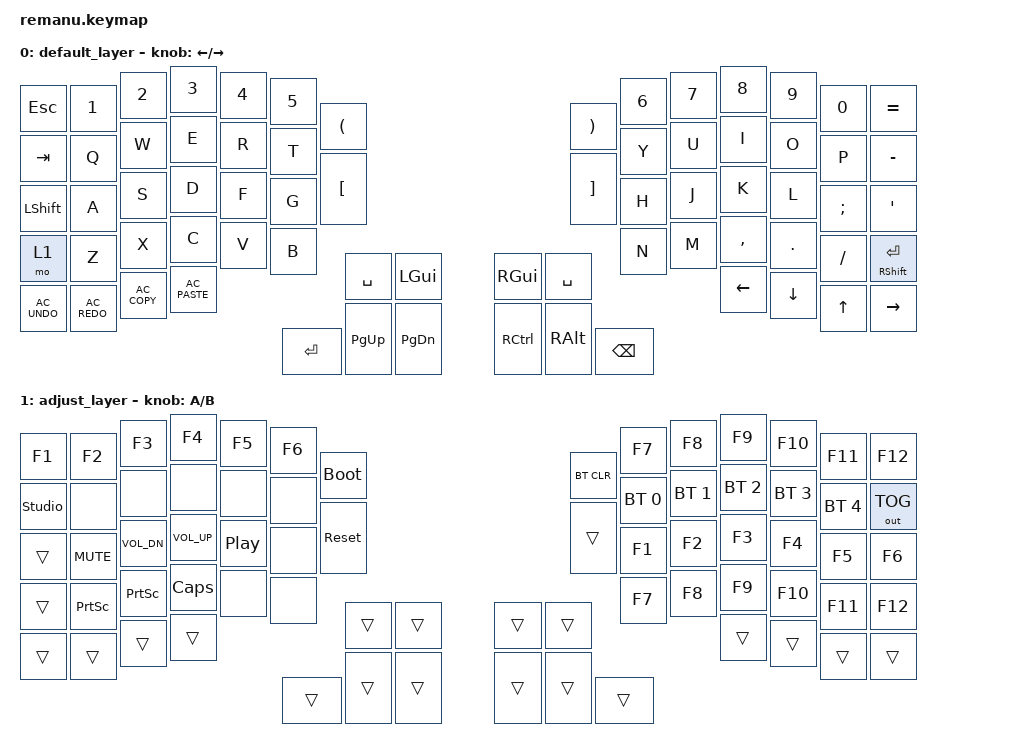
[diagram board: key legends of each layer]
#include <behaviors.dtsi>
#include <dt-bindings/zmk/bt.h>
#include <dt-bindings/zmk/keys.h>
#include <dt-bindings/zmk/outputs.h>

/ {
    keymap {
        compatible = "zmk,keymap";

        default_layer {
            // --------------------------------------------------------------------------------------------------------------------------------
            // | ESC   |  1  |  2  |   3   |  4  |  5  |                   ---                |  6    |  7    |  8    |  9   | 0  |    EQUAL   |
            // | TAB   |  Q  |  W  |   E   |  R  |  T  |   (   |           ---        |  )    |  Y    |  U    |  I    |  O   | P  |     -     |
            // | CTRL  |  A  |  S  |   D   |  F  |  G  |   [   |           ---        |  ]    |  H    |  J    |  K    |  L   | ;  |     '     |
            // | SHIFT |  Z  |  X  |   C   |  V  |  B  | PG_UP | PG_DOWN | --- | HOME | END   |  N    |  M    |  ,    |  .   | /  | SHFT(RET) |
            // | CRTL  | ALT | GUI | LOWER |    GUI    | LOWER | SPACE   | --- | DEL  | SPACE |     RAISE     | LEFT  | DOWN | UP |   RIGHT   |

            bindings = <
&kp ESC        &kp N1         &kp N2         &kp N3          &kp N4  &kp N5                                                       &kp N6            &kp N7  &kp N8     &kp N9    &kp N0    &kp EQUAL
&kp TAB        &kp Q          &kp W          &kp E           &kp R   &kp T      &kp LPAR                               &kp RPAR   &kp Y             &kp U   &kp I      &kp O     &kp P     &kp MINUS
&kp LSHFT      &kp A          &kp S          &kp D           &kp F   &kp G      &kp LBKT                               &kp RBKT   &kp H             &kp J   &kp K      &kp L     &kp SEMI  &kp SQT
&mo 1          &kp Z          &kp X          &kp C           &kp V   &kp B      &kp SPACE    &kp LGUI       &kp RGUI   &kp SPACE  &kp N             &kp M   &kp COMMA  &kp DOT   &kp FSLH  &mt RSHFT RET
&kp C_AC_UNDO  &kp C_AC_REDO  &kp C_AC_COPY  &kp C_AC_PASTE          &kp ENTER  &kp PAGE_UP  &kp PAGE_DOWN  &kp RCTRL  &kp RALT           &kp BSPC          &kp LEFT   &kp DOWN  &kp UP    &kp RIGHT
            >;

            sensor-bindings = <&inc_dec_kp LEFT RIGHT>;
        };

        adjust_layer {
            // -----------------------------------------------------------------------------------------
            // |  F1   |  F2   |    F3    |    F4     |     F5     | F6 |                   ---                | F7  | F8  |  F9  |  F10 | F11 | F12        |
            // | TAB   |       |          |           |            |    | BOOTL |           ---        |  )    | BT1 | BT2 |  BT3 |  BT4 | BT5 | OUTPUT TGL |
            // | CTRL  | MUTE  |  Vol Dn  |  Vol Up   | Play/Pause |    | RESET |           ---        |  ]    | F1  | F2  |  F3  |  F4  | F5  | F6         |
            // | SHIFT | PSCRN |  PSCRN   |   CAPS    |            |    | PG_UP | PG_DOWN | --- | HOME | END   | F7  | F8  |  F9  |  F10 | F11 | F12        |
            // | CRTL  | ALT   |  GUI     |   LOWER   |      GUI        | LOWER | SPACE   | --- | DEL  | SPACE |   RAISE   | LEFT | DOWN | UP  |   RIGHT    |

            bindings = <
&kp F1          &kp F2      &kp F3        &kp F4        &kp F5            &kp F6                                           &kp F7                &kp F8        &kp F9        &kp F10       &kp F11       &kp F12
&studio_unlock  &none       &none         &none         &none             &none   &bootloader                  &bt BT_CLR  &bt BT_SEL 0          &bt BT_SEL 1  &bt BT_SEL 2  &bt BT_SEL 3  &bt BT_SEL 4  &out OUT_TOG
&trans          &kp K_MUTE  &kp C_VOL_DN  &kp C_VOL_UP  &kp C_PLAY_PAUSE  &none   &sys_reset                   &trans      &kp F1                &kp F2        &kp F3        &kp F4        &kp F5        &kp F6
&trans          &kp PSCRN   &kp PSCRN     &kp CLCK      &none             &none   &trans       &trans  &trans  &trans      &kp F7                &kp F8        &kp F9        &kp F10       &kp F11       &kp F12
&trans          &trans      &trans        &trans                          &trans  &trans       &trans  &trans  &trans                    &trans                &trans        &trans        &trans        &trans
            >;

            sensor-bindings = <&inc_dec_kp A B>;
        };
    };
};
